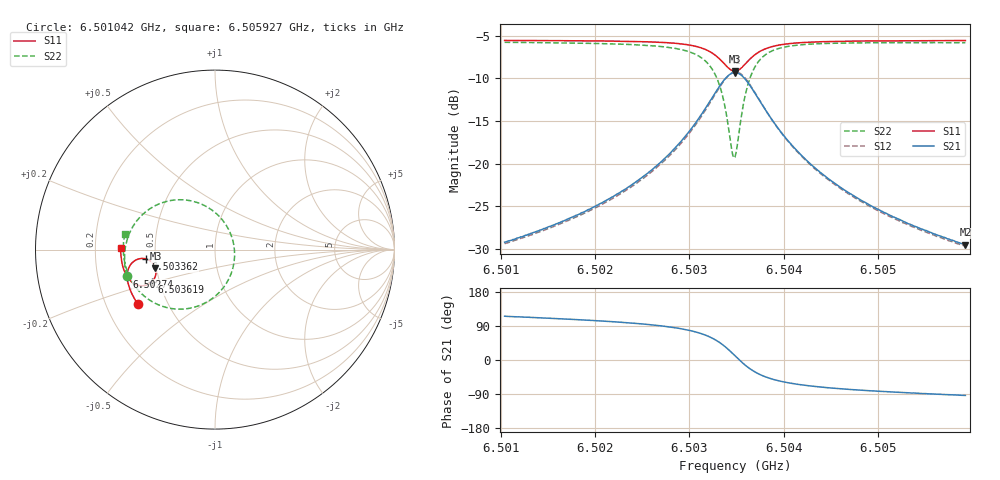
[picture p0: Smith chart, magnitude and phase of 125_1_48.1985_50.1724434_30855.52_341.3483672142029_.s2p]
#  HZ  S  RI  R  50.00
! Rohde & Schwarz Vector Network Analyzer
! Rohde-Schwarz,ZNB20-2Port,1311601062101988,3.16
! Created: UTC 3/20/2024, 11:41:40 AM
! freq[Hz]  re:S11  im:S11  re:S21  im:S21  re:S12  im:S12  re:S22  im:S22
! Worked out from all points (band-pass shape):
!   401 points, 6.501042 GHz to 6.505927 GHz, reference 50 ohm
!   highest |S21| = -9.33 dB at 6.503485 GHz (marker M1); lowest = -29.5 dB at 6.505927 GHz (marker M2)
!   |S21| within 3 dB of the highest: 6.50324 GHz to 6.503729 GHz (488.6 kHz wide, 0.00751 % of centre)
!   lowest |S11| = -9.2 dB at 6.503485 GHz (marker M3), VSWR 2.06, Z = 24.6 - j5.8 ohm
!   |S11| at or under -10 dB: nowhere
!   |S22| runs from -19.3 to -5.8 dB; largest |S21 - S12| = 0.012
!   S11 on the Smith chart (normalised r, x): 6.501042 GHz: 0.34, -0.28; 6.50274 GHz: 0.33, -0.14; 6.503362 GHz: 0.44, -0.05; 6.503619 GHz: 0.45, -0.19; 6.505927 GHz: 0.31, +0.01
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6.5010421e9  -0.4305 -0.3032  -0.0149 0.0312  -0.0131 0.0312  -0.4927 -0.1449
6.5018603e9  -0.465 -0.2417  -0.0139 0.0496  -0.0116 0.0489  -0.5043 -0.0561
6.5023e9  -0.4802 -0.2022  -0.011 0.0687  -0.00808 0.0676  -0.5003 0.00778
6.5026786e9  -0.4888 -0.1596  -0.00135 0.0997  0.0023 0.0973  -0.479 0.0858
6.5027396e9  -0.4891 -0.1514  0.00193 0.1071  0.00568 0.1043  -0.4717 0.1019
6.5029595e9  -0.4856 -0.1161  0.0242 0.1426  0.0279 0.1382  -0.4251 0.1732
6.5031182e9  -0.4706 -0.084  0.064 0.1789  0.0669 0.1729  -0.3474 0.2368
6.5032648e9  -0.4325 -0.0543  0.1465 0.2078  0.1474 0.2012  -0.1968 0.2778
6.5033136e9  -0.4111 -0.0495  0.1896 0.2062  0.1896 0.2004  -0.1214 0.2687
6.5033625e9  -0.3855 -0.0517  0.2389 0.1907  0.239 0.1858  -0.037 0.2336
6.503448e9  -0.3426 -0.0812  0.3175 0.115  0.3199 0.1107  0.0884 0.0845
6.5034846e9  -0.3317 -0.1035  0.335 0.0659  0.3385 0.0603  0.1088 -0.0081
6.503509e9  -0.3288 -0.1199  0.3385 0.031  0.3422 0.0239  0.106 -0.0722
6.5035457e9  -0.331 -0.1441  0.3307 -0.0196  0.3341 -0.0286  0.078 -0.1617
6.5036189e9  -0.3536 -0.1813  0.2833 -0.0963  0.2832 -0.1079  -0.0337 -0.2853
6.5037166e9  -0.3946 -0.2007  0.2046 -0.1396  0.1995 -0.1498  -0.1944 -0.3318
6.5038754e9  -0.444 -0.1933  0.1161 -0.1388  0.1088 -0.1444  -0.3556 -0.2869
6.5040464e9  -0.4732 -0.172  0.068 -0.1178  0.0613 -0.1203  -0.4337 -0.2194
6.5043028e9  -0.4956 -0.1407  0.0348 -0.0909  0.0298 -0.0914  -0.4816 -0.1409
6.5046692e9  -0.5114 -0.1018  0.0153 -0.0668  0.0119 -0.0665  -0.5045 -0.0651
6.5051211e9  -0.5208 -0.0596  0.00533 -0.0497  0.00286 -0.049  -0.5108 0.000829
6.5059271e9  -0.526 0.00928  -0.00203 -0.0334  -0.00341 -0.0326  -0.5034 0.0879
